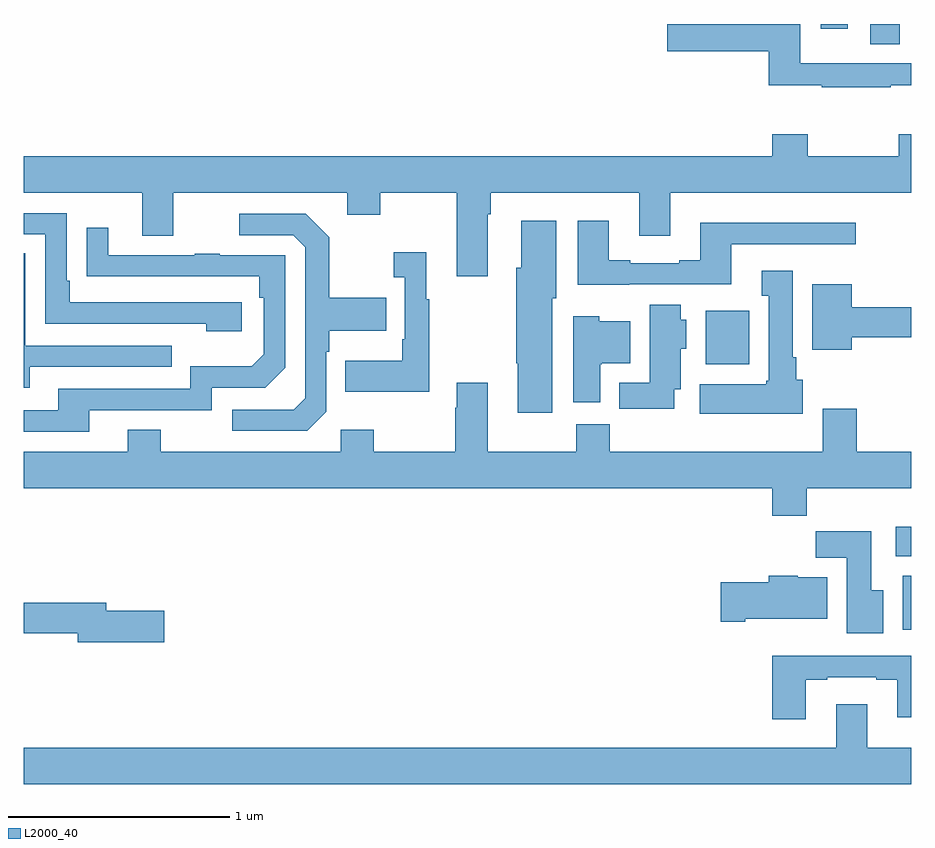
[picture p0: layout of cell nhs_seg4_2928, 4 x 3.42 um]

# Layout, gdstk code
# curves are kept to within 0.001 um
import gdstk
lib = gdstk.Library(unit=1e-6, precision=1e-09)
def R(c, l, rs):  # rectangles x0, y0, x1, y1
    for r in rs: c.add(gdstk.rectangle(r[:2], r[2:], *l))
def P(c, l, *ps):  # polygons
    for p in ps: c.add(gdstk.Polygon(p, *l))
L2000_40 = (2000, 40)

nhs_seg4_2928 = lib.new_cell('nhs_seg4_2928')
R(nhs_seg4_2928, L2000_40, [(268.961,808.172,269,808.414), (268.929,808.502,269,808.636), (268.073,809.366,268.27,809.608), (268.814,810.808,268.948,810.9), (268.592,810.879,268.714,810.9)])
P(nhs_seg4_2928, L2000_40, [(268.907,810.625),(269,810.625),(269,810.723),(268.71,810.723),(268.71,810.724),(268.5,810.724),(268.5,810.9),(267.9,810.9),(267.9,810.778),(268.358,810.778),(268.358,810.625),(268.597,810.625),(268.597,810.615),(268.907,810.615)],
  [(267.091,810.044),(267.104,810.044),(267.104,810.14),(267.773,810.14),(267.773,809.946),(267.913,809.946),(267.913,810.14),(269,810.14),(269,810.403),(268.942,810.403),(268.942,810.304),(268.533,810.304),(268.533,810.403),(268.373,810.403),(268.373,810.304),(265,810.304),(265,810.14),(265.535,810.14),(265.535,809.946),(265.675,809.946),(265.675,810.14),(266.459,810.14),(266.459,810.041),(266.607,810.041),(266.607,810.14),(266.951,810.14),(266.951,809.763),(267.091,809.763)],
  [(265.984,809.646),(265.207,809.646),(265.207,809.743),(265.194,809.743),(265.194,810.048),(265,810.048),(265,809.952),(265.098,809.952),(265.098,809.55),(265.823,809.55),(265.823,809.516),(265.984,809.516)],
  [(266.364,809.154),(266.364,809.423),(266.377,809.423),(266.377,809.519),(266.633,809.519),(266.633,809.667),(266.377,809.667),(266.377,809.939),(266.271,810.045),(265.971,810.045),(265.971,809.949),(266.214,809.949),(266.268,809.895),(266.268,809.214),(266.217,809.163),(265.941,809.163),(265.941,809.067),(266.277,809.067)],
  [(267.729,809.727),(268.189,809.727),(268.189,809.907),(268.75,809.907),(268.75,810.004),(268.049,810.004),(268.049,809.836),(267.953,809.836),(267.953,809.823),(267.733,809.823),(267.733,809.836),(267.637,809.836),(267.637,810.013),(267.497,810.013),(267.497,809.726),(267.729,809.726)],
  [(267.382,809.664),(267.4,809.664),(267.4,810.013),(267.242,810.013),(267.242,809.802),(267.22,809.802),(267.22,809.371),(267.227,809.371),(267.227,809.148),(267.382,809.148)],
  [(265.297,809.16),(265.848,809.16),(265.848,809.262),(266.088,809.262),(266.178,809.352),(266.178,809.859),(265.883,809.859),(265.883,809.864),(265.771,809.864),(265.771,809.859),(265.381,809.859),(265.381,809.983),(265.285,809.983),(265.285,809.764),(266.062,809.763),(266.062,809.666),(266.082,809.666),(266.082,809.412),(266.029,809.359),(265.752,809.359),(265.752,809.256),(265.157,809.256),(265.157,809.16),(265,809.16),(265,809.064),(265.297,809.064)],
  [(266.827,809.659),(266.815,809.659),(266.815,809.872),(266.667,809.872),(266.667,809.759),(266.718,809.759),(266.718,809.479),(266.706,809.479),(266.706,809.383),(266.449,809.383),(266.449,809.243),(266.827,809.243)],
  [(265.027,809.355),(265.667,809.355),(265.667,809.451),(265.008,809.451),(265.008,809.867),(265,809.867),(265,809.261),(265.027,809.261)],
  [(268.51,809.298),(268.48,809.298),(268.48,809.398),(268.465,809.398),(268.465,809.788),(268.325,809.788),(268.325,809.675),(268.358,809.675),(268.358,809.292),(268.345,809.292),(268.345,809.278),(268.046,809.278),(268.046,809.144),(268.51,809.144)],
  [(268.732,809.488),(269,809.488),(269,809.624),(268.732,809.624),(268.732,809.728),(268.553,809.728),(268.553,809.432),(268.732,809.432)],
  [(267.931,809.255),(267.961,809.255),(267.961,809.436),(267.985,809.436),(267.985,809.568),(267.961,809.568),(267.961,809.635),(267.821,809.635),(267.821,809.284),(267.683,809.284),(267.683,809.166),(267.931,809.166)],
  [(267.598,809.366),(267.604,809.366),(267.604,809.372),(267.733,809.372),(267.733,809.56),(267.594,809.56),(267.594,809.584),(267.476,809.584),(267.476,809.196),(267.598,809.196)],
  [(268.529,808.808),(269,808.808),(269,808.972),(268.754,808.972),(268.754,809.167),(268.601,809.167),(268.601,808.972),(267.641,808.972),(267.641,809.096),(267.49,809.096),(267.49,808.972),(267.091,808.972),(267.091,809.284),(266.951,809.284),(266.951,809.171),(266.944,809.171),(266.944,808.972),(266.577,808.972),(266.577,809.071),(266.43,809.071),(266.43,808.972),(265.617,808.972),(265.617,809.071),(265.469,809.071),(265.469,808.972),(265,808.972),(265,808.808),(268.373,808.808),(268.373,808.684),(268.529,808.684)],
  [(268.873,808.348),(268.819,808.348),(268.819,808.615),(268.57,808.615),(268.57,808.496),(268.709,808.496),(268.709,808.155),(268.873,808.155)],
  [(268.252,808.22),(268.621,808.22),(268.621,808.408),(268.488,808.408),(268.488,808.414),(268.358,808.414),(268.358,808.386),(268.14,808.386),(268.14,808.208),(268.252,808.208)],
  [(265.633,808.256),(265.372,808.256),(265.372,808.292),(265,808.292),(265,808.156),(265.244,808.156),(265.244,808.114),(265.633,808.114)],
  [(268.525,807.945),(268.621,807.945),(268.621,807.957),(268.841,807.957),(268.841,807.945),(268.937,807.945),(268.937,807.776),(269,807.776),(269,808.053),(268.613,808.053),(268.613,808.054),(268.373,808.054),(268.373,807.768),(268.525,807.768)],
  [(269,807.64),(268.801,807.64),(268.801,807.835),(268.661,807.835),(268.661,807.64),(265,807.64),(265,807.476),(269,807.476)])

lib.write_gds('nhs_seg4_2928.gds')
